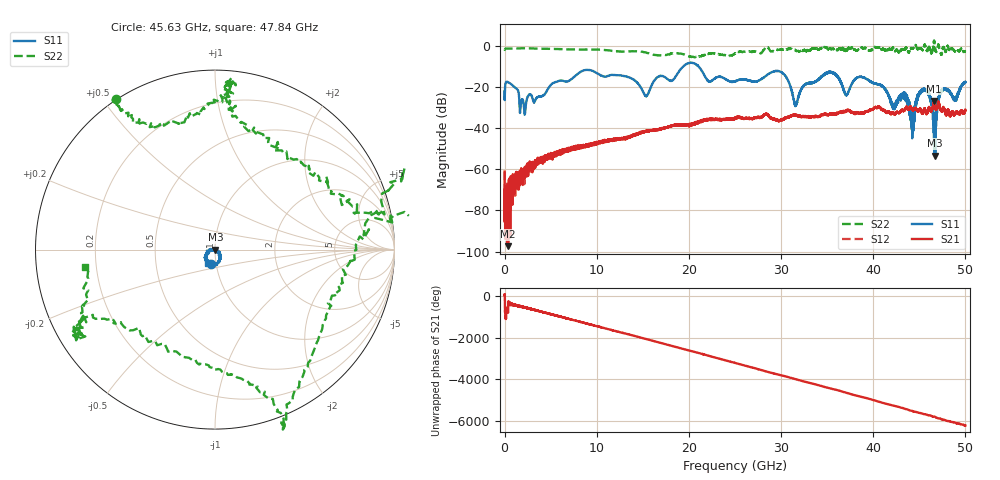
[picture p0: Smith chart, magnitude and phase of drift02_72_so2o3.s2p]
!Created with skrf (http://scikit-rf.org).
# Hz S RI R 50.0
!freq ReS11 ImS11 ReS21 ImS21 ReS12 ImS12 ReS22 ImS22
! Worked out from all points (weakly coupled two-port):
!   10001 points, 300 kHz to 50 GHz, reference 50 ohm
!   highest |S21| = -26.96 dB at 46.61 GHz (marker M1); lowest = -97.4 dB at 385.3 MHz (marker M2)
!   lowest |S11| = -53.4 dB at 46.73 GHz (marker M3), VSWR 1.00, Z = 50.2 + j0.0109 ohm
!   |S11| at or under -10 dB: start of sweep to 19.42 GHz; 21.02 GHz to end of sweep
!   |S22| runs from -5.7 to 2.5 dB; largest |S21 - S12| = 0.0039
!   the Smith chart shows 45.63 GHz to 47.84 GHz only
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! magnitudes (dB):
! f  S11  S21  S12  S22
! 300 kHz  -22.3  -61.2  -61.3  -2.1
! 385.3 MHz  -17.9  -97.4  -69.3  -1.4
! 2.18 GHz  -33.6  -60.9  -63.6  -1.3
! 8.335 GHz  -12.5  -49.5  -49.0  -1.9
! 15.34 GHz  -24.6  -41.5  -41.6  -3.3
! 16.67 GHz  -15.1  -41.1  -40.7  -4.7
! 20.3 GHz  -8.4  -38.3  -38.6  -5.5
! 25 GHz  -17.4  -35.5  -35.4  -3.9
! 29.84 GHz  -12.5  -36.4  -36.3  -2.0
! 31.59 GHz  -28.9  -33.8  -34.0  -2.4
! 33.34 GHz  -18.1  -34.3  -34.4  -1.6
! 35.59 GHz  -13.4  -33.3  -33.1  -1.6
! 37.1 GHz  -24.2  -31.7  -31.6  -2.4
! 38.77 GHz  -15.2  -32.5  -32.7  -1.0
! 41.67 GHz  -24.5  -32.1  -32.2  -1.8
! 43.43 GHz  -23.0  -31.2  -31.1  -1.8
! 44.27 GHz  -36.6  -31.2  -31.2  -1.4
! 45.69 GHz  -21.8  -32.2  -32.1  -0.6
! 46.61 GHz  -41.0  -27.0  -26.8  2.5
! 46.73 GHz  -53.4  -30.2  -29.6  -1.3
! 47.49 GHz  -21.6  -31.9  -31.7  -2.9
! 50 GHz  -17.8  -31.4  -31.6  -2.8
